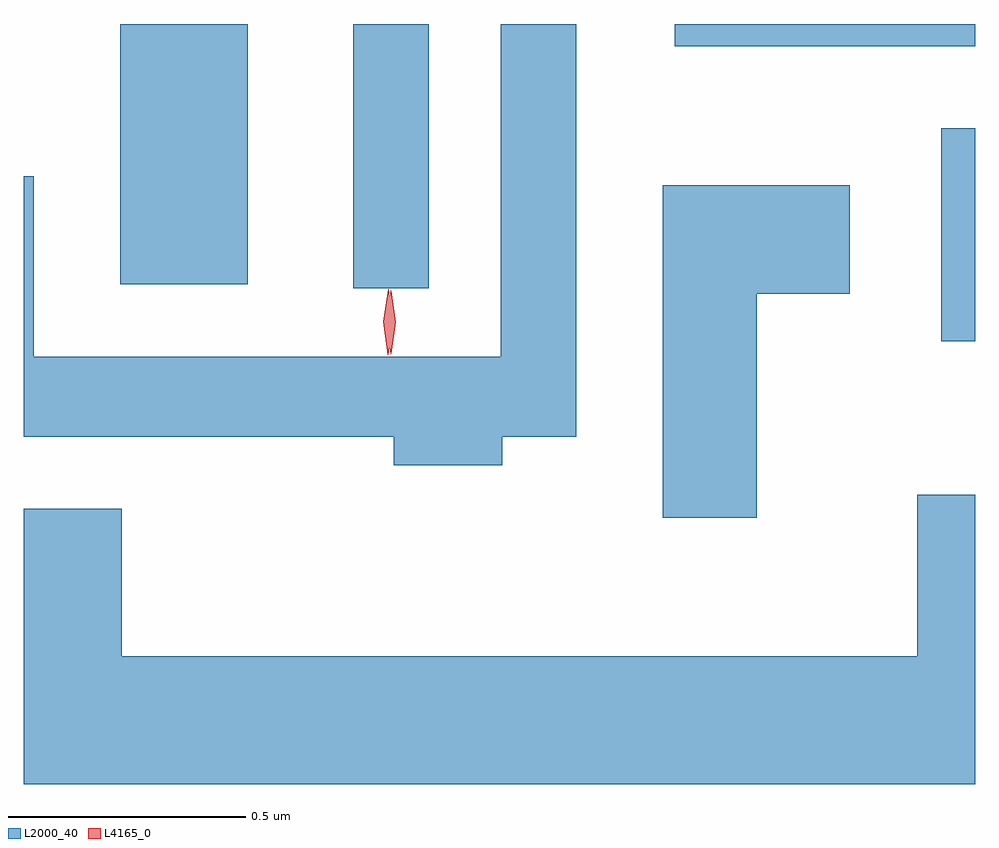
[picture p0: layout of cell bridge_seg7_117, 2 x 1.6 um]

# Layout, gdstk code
import gdstk
lib = gdstk.Library(unit=1e-6, precision=1e-09)
def R(c, l, rs):  # rectangles x0, y0, x1, y1
    for r in rs: c.add(gdstk.rectangle(r[:2], r[2:], *l))
def P(c, l, *ps):  # polygons
    for p in ps: c.add(gdstk.Polygon(p, *l))
L2000_40 = (2000, 40)
L4165_0 = (4165, 0)

bridge_seg7_117 = lib.new_cell('bridge_seg7_117')
R(bridge_seg7_117, L2000_40, [(1498.301,1761.866,1498.373,1762.314), (1497.066,1761.978,1497.224,1762.533), (1496.576,1761.986,1496.844,1762.533), (1497.741,1762.486,1498.373,1762.533)])
P(bridge_seg7_117, L2000_40, [(1497.379,1761.666),(1497.534,1761.666),(1497.534,1762.533),(1497.376,1762.533),(1497.376,1761.834),(1496.394,1761.834),(1496.394,1762.213),(1496.373,1762.213),(1496.373,1761.666),(1497.151,1761.666),(1497.151,1761.606),(1497.379,1761.606)],
  [(1497.914,1761.966),(1498.109,1761.966),(1498.109,1762.194),(1497.716,1762.194),(1497.716,1761.496),(1497.914,1761.496)],
  [(1498.373,1761.544),(1498.251,1761.544),(1498.251,1761.204),(1496.579,1761.204),(1496.579,1761.514),(1496.373,1761.514),(1496.373,1760.936),(1498.373,1760.936)])
P(bridge_seg7_117, L4165_0, [(1497.138,1761.837),(1497.138,1761.838),(1497.129,1761.907),(1497.139,1761.976),(1497.139,1761.976),(1497.14,1761.976),(1497.149,1761.907),(1497.139,1761.838)],
  [(1497.145,1761.839),(1497.144,1761.84),(1497.135,1761.906),(1497.144,1761.972),(1497.145,1761.973),(1497.146,1761.972),(1497.155,1761.906),(1497.146,1761.84)])

lib.write_gds('bridge_seg7_117.gds')
